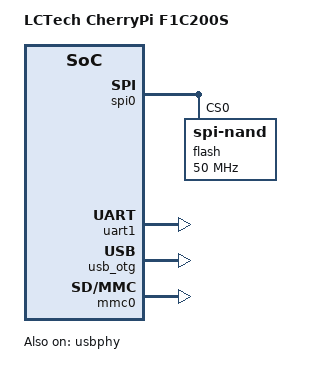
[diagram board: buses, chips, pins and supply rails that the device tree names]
// SPDX-License-Identifier: (GPL-2.0+ OR X11)

/dts-v1/;
#include "suniv-f1c100s.dtsi"

#include <dt-bindings/gpio/gpio.h>

/ {
	model = "LCTech CherryPi F1C200S";
	compatible = "allwinner,suniv-f1c100s",
		     "allwinner,suniv";

	aliases {
		serial0 = &uart1;
		spi0 = &spi0;
	};

	chosen {
		stdout-path = "serial0:115200n8";
	};
};

&otg_sram {
	status = "okay";
};

&spi0 {
	pinctrl-names = "default";
	pinctrl-0 = <&spi0_pins_a>;
	status = "okay";

	flash@0 {
		#address-cells = <1>;
		#size-cells = <1>;
		reg = <0>;
		compatible = "spi-nand";
		spi-max-frequency = <50000000>;
	};
};

&uart1 {
	pinctrl-names = "default";
	pinctrl-0 = <&uart1_pins_a>;
	status = "okay";
};

&usb_otg {
	status = "okay";
};

&usbphy {
	status = "okay";
};

&mmc0 {
	status = "okay";
};
